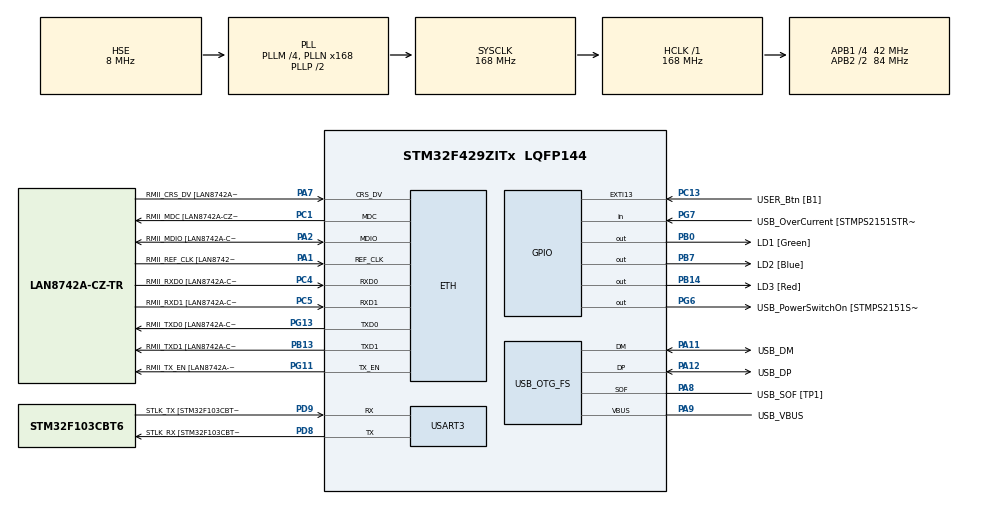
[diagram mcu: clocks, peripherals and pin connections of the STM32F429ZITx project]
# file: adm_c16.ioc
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ETH.MediaInterface=HAL_ETH_RMII_MODE
ETH.PHY_Name=LAN8742A_PHY_ADDRESS
ETH.PHY_Value=0
ETH.PhyAddress=0
Mcu.Family=STM32F4
Mcu.Name=STM32F429ZITx
Mcu.Package=LQFP144
NVIC.PriorityGroup=NVIC_PRIORITYGROUP_4
PA1.GPIO_Label=RMII_REF_CLK [LAN8742A-CZ-TR_REFCLK0]
PA1.Mode=RMII
PA1.Signal=ETH_REF_CLK
PA10.GPIO_Label=USB_ID
PA10.Signal=USB_OTG_FS_ID
PA11.GPIO_Label=USB_DM
PA11.Mode=Device_Only
PA11.Signal=USB_OTG_FS_DM
PA12.GPIO_Label=USB_DP
PA12.Mode=Device_Only
PA12.Signal=USB_OTG_FS_DP
PA13.GPIO_Label=TMS
PA13.Mode=Serial_Wire
PA13.Signal=SYS_JTMS-SWDIO
PA14.GPIO_Label=TCK
PA14.Mode=Serial_Wire
PA14.Signal=SYS_JTCK-SWCLK
PA2.GPIO_Label=RMII_MDIO [LAN8742A-CZ-TR_MDIO]
PA2.Mode=RMII
PA2.Signal=ETH_MDIO
PA7.GPIO_Label=RMII_CRS_DV [LAN8742A-CZ-TR_CRS_DV]
PA7.Mode=RMII
PA7.Signal=ETH_CRS_DV
PA8.GPIO_Label=USB_SOF [TP1]
PA8.Mode=Activate_SOF_FS
PA8.Signal=USB_OTG_FS_SOF
PA9.GPIO_Label=USB_VBUS
PA9.Mode=Activate_VBUS
PA9.Signal=USB_OTG_FS_VBUS
PB0.GPIO_Label=LD1 [Green]
PB0.Signal=GPIO_Output
PB13.GPIO_Label=RMII_TXD1 [LAN8742A-CZ-TR_TXD1]
PB13.Mode=RMII
PB13.Signal=ETH_TXD1
PB14.GPIO_Label=LD3 [Red]
PB14.Signal=GPIO_Output
PB7.GPIO_Label=LD2 [Blue]
PB7.Signal=GPIO_Output
PC1.GPIO_Label=RMII_MDC [LAN8742A-CZ-TR_MDC]
PC1.Mode=RMII
PC1.Signal=ETH_MDC
PC13.GPIO_Label=USER_Btn [B1]
PC13.Signal=GPXTI13
PC14/OSC32_IN.Mode=LSE-External-Oscillator
PC14/OSC32_IN.Signal=RCC_OSC32_IN
PC15/OSC32_OUT.Mode=LSE-External-Oscillator
PC15/OSC32_OUT.Signal=RCC_OSC32_OUT
PC4.GPIO_Label=RMII_RXD0 [LAN8742A-CZ-TR_RXD0]
PC4.Mode=RMII
PC4.Signal=ETH_RXD0
PC5.GPIO_Label=RMII_RXD1 [LAN8742A-CZ-TR_RXD1]
PC5.Mode=RMII
PC5.Signal=ETH_RXD1
PD8.GPIO_Label=STLK_RX [STM32F103CBT6_PA3]
PD8.Mode=Asynchronous
PD8.Signal=USART3_TX
PD9.GPIO_Label=STLK_TX [STM32F103CBT6_PA2]
PD9.Mode=Asynchronous
PD9.Signal=USART3_RX
PG11.GPIO_Label=RMII_TX_EN [LAN8742A-CZ-TR_TXEN]
PG11.Mode=RMII
PG11.Signal=ETH_TX_EN
PG13.GPIO_Label=RMII_TXD0 [LAN8742A-CZ-TR_TXD0]
PG13.Mode=RMII
PG13.Signal=ETH_TXD0
PG6.GPIO_Label=USB_PowerSwitchOn [STMPS2151STR_EN]
PG6.Signal=GPIO_Output
PG7.GPIO_Label=USB_OverCurrent [STMPS2151STR_FAULT]
PG7.Signal=GPIO_Input
PH0/OSC_IN.GPIO_Label=MCO [STM32F103CBT6_PA8]
PH0/OSC_IN.Mode=HSE-External-Clock-Source
PH0/OSC_IN.Signal=RCC_OSC_IN
PH1/OSC_OUT.Mode=HSE-External-Clock-Source
PH1/OSC_OUT.Signal=RCC_OSC_OUT
ProjectManager.HeapSize=0x200
ProjectManager.StackSize=0x400
ProjectManager.TargetToolchain=STM32CubeIDE
RCC.48MHZClocksFreq_Value=48000000
RCC.AHBFreq_Value=168000000
RCC.APB1CLKDivider=RCC_HCLK_DIV4
RCC.APB1Freq_Value=42000000
RCC.APB1TimFreq_Value=84000000
RCC.APB2CLKDivider=RCC_HCLK_DIV2
RCC.APB2Freq_Value=84000000
RCC.APB2TimCLKDivider=2
RCC.APB2TimFreq_Value=168000000
RCC.CortexFreq_Value=168000000
RCC.HCLKFreq_Value=168000000
RCC.HSE_VALUE=8000000
RCC.HSI_VALUE=16000000
RCC.PLLM=4
RCC.PLLMUL=RCC_PLL_MUL9
RCC.PLLN=168
RCC.PLLQ=7
RCC.PRESCALERUSB=RCC_USBCLKSOURCE_PLL_DIV1_5
RCC.SYSCLKFreq_VALUE=168000000
RCC.SYSCLKSource=RCC_SYSCLKSOURCE_PLLCLK
RCC.SYSCLKSourceVirtual=RCC_SYSCLKSOURCE_PLLCLK
RCC.USBFreq_Value=48000000
RCC.VCOOutputFreq_Value=336000000
USART3.VirtualMode=VM_ASYNC
USB_OTG_FS.VirtualMode=Device_Only
board=NUCLEO-F429ZI

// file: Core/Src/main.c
/* USER CODE BEGIN Header */
/**
  ******************************************************************************
  * @file           : main.c
  * @brief          : Main program body
  ******************************************************************************
  * @attention
  *
  * Copyright (c) 2022 STMicroelectronics.
  * All rights reserved.
  *
  * This software is licensed under terms that can be found in the LICENSE file
  * in the root directory of this software component.
  * If no LICENSE file comes with this software, it is provided AS-IS.
  *
  ******************************************************************************
  */
/* USER CODE END Header */
#include "main.h"
#include "string.h"

/* USER CODE BEGIN Includes */
#include "asm_func.h"
/* USER CODE END Includes */

ETH_TxPacketConfig TxConfig;
ETH_DMADescTypeDef  DMARxDscrTab[ETH_RX_DESC_CNT]; /* Ethernet Rx DMA Descriptors */
ETH_DMADescTypeDef  DMATxDscrTab[ETH_TX_DESC_CNT]; /* Ethernet Tx DMA Descriptors */

ETH_HandleTypeDef heth;

UART_HandleTypeDef huart3;

PCD_HandleTypeDef hpcd_USB_OTG_FS;

void SystemClock_Config(void);
static void MX_GPIO_Init(void);
static void MX_ETH_Init(void);
static void MX_USART3_UART_Init(void);
static void MX_USB_OTG_FS_PCD_Init(void);

/* USER CODE BEGIN 0 */
static void PrivilegiosSVC (void)
{
    // Obtiene valor del registro de 32 bits del procesador llamado "control".
    // El registro guarda los siguientes estados:
    // bit 2: Uso de FPU en el contexto actual. Usado=1, no usado=0.
    // bit 1: Mapeo del stack pointer(sp). MSP=0, PSP=1.
    // bit 0: Modo de ejecucion en Thread. Privilegiado=0, No privilegiado=1.
    //        Recordar que este valor solo se usa en modo Thread. Las
    //        interrupciones siempre se ejecutan en modo Handler con total
    //        privilegio.
    uint32_t x = __get_CONTROL ();

    // Actividad de debug: Ver registro "control" y valor de variable "x".
    //__BKPT (0);

    x |= 1;
    // bit 0 a modo No privilegiado.
    __set_CONTROL (x);

    // En este punto se estaria ejecutando en modo No privilegiado.
    // Lectura del registro "control" para confirmar.
    x = __get_CONTROL ();

    // Actividad de debug: Ver registro "control" y valor de variable "x".
    //__BKPT (0);

    x &= ~1u;
    // Se intenta volver a modo Privilegiado (bit 0, valor 0).
    __set_CONTROL (x);

    // Confirma que esta operacion es ignorada por estar ejecutandose en modo
    // Thread no privilegiado.
    x = __get_CONTROL ();

    // Actividad de debug: Ver registro "control" y valor de variable "x".
    //__BKPT (0);

    // En este punto, ejecutando en modo Thread no privilegiado, la unica forma
    // de volver a modo privilegiado o de realizar cualquier cambio que requiera
    // modo privilegiado, es pidiendo ese servicio a un hipotetico sistema
    // opertivo de tiempo real.
    // Para esto se invoca por software a la interrupcion SVC (Supervisor Call)
    // utilizando la instruccion "svc".
    // No hay intrinsics para realizar esta tarea. Para utilizar la instruccion
    // es necesario implementar una funcion en assembler. Ver el archivo
    // asm_func.S.
    asm_svc ();

    // El sistema operativo (el handler de SVC) deberia haber devuelto el modo
    // de ejecucion de Thread a privilegiado (bit 0 en valor 0).
    x = __get_CONTROL ();

    // Fin del ejemplo de SVC
}

void zeros(uint32_t *vector, uint32_t longitud) {
    for (uint32_t i = 0; i < longitud; i++) {
        vector[i] = 0;
    }
}
//optimizado, dsp aplicar en todos.....:
void zeros_optimizada(uint32_t *vector, uint32_t longitud) {
    for (; longitud >0; longitud--) {
        vector[longitud-1] = 0;
    }
}
void productoEscalar32(uint32_t *vectorIn, uint32_t *vectorOut, uint32_t longitud, uint32_t escalar) {
    for (uint32_t i = 0; i < longitud; i++) { //en clase no utilizaron la variable auxiliar i,
        vectorOut[i] = vectorIn[i] * escalar;
    }
}
void productoEscalar16(uint16_t *vectorIn, uint16_t *vectorOut, uint32_t longitud, uint16_t escalar) {
    for (uint32_t i = 0; i < longitud; i++) {
        vectorOut[i] = vectorIn[i] * escalar;
    }
}
void productoEscalar12(uint16_t *vectorIn, uint16_t *vectorOut, uint32_t longitud, uint16_t escalar) {
    for (uint32_t i = 0; i < longitud; i++) {
        uint32_t resultado = (uint32_t)vectorIn[i] * (uint32_t)escalar;
        if (resultado > 0xFFF) {
            vectorOut[i] = 0xFFF; // Saturación a 12 bits
        } else {
            vectorOut[i] = (uint16_t)resultado;
        }
    }
}
void filtroVentana10(uint16_t *vectorIn, uint16_t *vectorOut, uint32_t longitud) {
    int32_t p;
    const uint8_t SampleOffset = 5;
    const uint8_t WindowSize = (SampleOffset * 2) + 1;

    for (int32_t i = longitud - 1; i >= 0; i--) {
        p = i;
        vectorOut[p] = 0;

        for (int32_t j = p + SampleOffset; j >= p - SampleOffset; j--) {
            if (j < longitud && j >= 0) {
                vectorOut[p] += vectorIn[j];
            }
        }
        vectorOut[p] /= WindowSize;
    }
}
void pack32to16(int32_t *vectorIn, int16_t *vectorOut, uint32_t longitud) {
    for (uint32_t i = 0; i < longitud; i++) {
        vectorOut[i] = (int16_t)(vectorIn[i] >> 16);
    }
}
int32_t max(int32_t *vectorIn, uint32_t longitud) {
    int32_t maxValor = vectorIn[0];
    uint32_t maxPosicion = 0;

    for (uint32_t i = 1; i < longitud; i++) {
        if (vectorIn[i] > maxValor) {
            maxValor = vectorIn[i];
            maxPosicion = i;
        }
    }

    return maxPosicion;
}
void downsampleM(int32_t *vectorIn, int32_t *vectorOut, uint32_t longitud, uint32_t N) {
    uint32_t i;
    uint32_t j = 0;

    for (i = 0; i < longitud; i += N) {
        vectorOut[j] = vectorIn[i];
        j++;
    }
}
void invertir(uint16_t *vector, uint32_t longitud) {
    uint32_t i;
    uint16_t temp;

    for (i = 0; i < longitud / 2; i++) {
        temp = vector[i];
        vector[i] = vector[longitud - i - 1];
        vector[longitud - i - 1] = temp;
    }
}
void introducirEco(int16_t *vector, int16_t *vectorOut) {
    uint32_t retrasoMuestras = 882; // 20ms de retraso = 882 muetras
    uint32_t longitud = 4096;
    int16_t mitadAmplitud = 0;

    //SIN ECO
    for (uint32_t i = 0; i < retrasoMuestras; i++) {
        vectorOut[i] = vector[i];
    }

    //ECO
    for (uint32_t i = retrasoMuestras; i < longitud; i++) {
        mitadAmplitud = vector[i - retrasoMuestras] / 2; //retraso
        vectorOut[i] += vector[i] + mitadAmplitud;
    }

}

// https://www.keil.com/pack/doc/CMSIS/Core/html/group__intrinsic__SIMD__gr.html

void introducirEco_Intrinsic(int16_t *vector, int16_t *vectorOut) {
    uint32_t retrasoMuestras = 882; // 20ms de retraso = 882 muetras
    uint32_t longitud = 4096;
    int16_t mitadAmplitud = 0;

    //SIN ECO
    for (uint32_t i = 0; i < retrasoMuestras; i++) {
        vectorOut[i] = vector[i];
    }

    //ECO
    for (uint32_t i = retrasoMuestras; i < longitud; i++) {
        mitadAmplitud = vector[i - retrasoMuestras] / 2; //retraso
        vectorOut[i] = __QADD16(vectorOut[i], __QADD16(vector[i], mitadAmplitud));
    }

}
void corr(int16_t *vectorX, int16_t *vectorY, int16_t *vectorCorr, uint32_t longitud) {
    uint32_t i, j;

    for (i = 0; i < longitud; i++) {
        vectorCorr[i] = 0;
        for (j = 0; j < longitud; j++) {
            if (i + j < longitud) {
                vectorCorr[i] += vectorX[i + j] * vectorY[j];
            }
        }
    }
}
void corr_Intrinsic(int16_t *vectorX, int16_t *vectorY, int16_t *vectorCorr, uint32_t longitud) {
    uint32_t i, j;

    for (i = 0; i < longitud; i++) {
        vectorCorr[i] = 0;
        for (j = 0; j < longitud; j++) {
            if (i + j < longitud) {
            	//__SMUADX <---- dsp probar con esa
                vectorCorr[i] += __SMUAD(vectorX[i + j] , vectorY[j]);
            }
        }
    }
}
/* USER CODE END 0 */

int main(void)
{

  /* MCU Configuration--------------------------------------------------------*/

  /* Reset of all peripherals, Initializes the Flash interface and the Systick. */
  HAL_Init();

  /* Configure the system clock */
  SystemClock_Config();

  /* Initialize all configured peripherals */
  MX_GPIO_Init();
  MX_ETH_Init();
  MX_USART3_UART_Init();
  MX_USB_OTG_FS_PCD_Init();
  /* USER CODE BEGIN 2 */
  PrivilegiosSVC ();
  DWT->CTRL |= 1 << DWT_CTRL_CYCCNTENA_Pos; //activar el contador

  uint32_t ciclosASM,ciclosC,ciclosC2;

  //const uint32_t Resultado = asm_sum (5, 3);

  /*
   * 	EJERCICIO 1 PRUEBA DE FUNCIONES EN C y ASM
   *
   * */
  uint32_t resultado[10] = {10,20,10,40,50,60,20,10,20,40};
  DWT->CYCCNT = 0;  asm_zeros(resultado, 10);  ciclosASM = DWT->CYCCNT;
  DWT->CYCCNT = 0;  zeros(resultado, 10);  ciclosC = DWT->CYCCNT;
  DWT->CYCCNT = 0;  zeros_optimizada(resultado, 10);  ciclosC2 = DWT->CYCCNT;
  /*
   * 	EJERCICIO 2 PRUEBA DE FUNCIONES EN C y ASM
   *
   * */
  uint32_t vectorIN_ej2[10] = {10,20,10,40,50,60,70,80,90,100};
  uint32_t vectorOUT_ej2[10] = {0};
  uint32_t longitud_ej2 = 10, escalar_ej2 = 2;
  DWT->CYCCNT = 0;  asm_productoEscalar32(vectorIN_ej2,vectorOUT_ej2,longitud_ej2,escalar_ej2);  ciclosASM = DWT->CYCCNT;
  DWT->CYCCNT = 0;  productoEscalar32(vectorIN_ej2,vectorOUT_ej2,longitud_ej2,escalar_ej2);  ciclosC = DWT->CYCCNT;
  /*
   * 	EJERCICIO 3 PRUEBA DE FUNCIONES EN C y ASM
   *
   * */
  uint16_t vectorIN_ej3[5] = {10,20,10,40,50};
  uint16_t vectorOUT_ej3[5] = {0};
  uint32_t longitud_ej3 = 5;
  uint16_t escalar_ej3 = 2;
  DWT->CYCCNT = 0;  asm_productoEscalar16(vectorIN_ej3,vectorOUT_ej3,longitud_ej3,escalar_ej3);  ciclosASM = DWT->CYCCNT;
  DWT->CYCCNT = 0;  productoEscalar16(vectorIN_ej3,vectorOUT_ej3,longitud_ej3,escalar_ej3);  ciclosC = DWT->CYCCNT;
  /*
   * 	EJERCICIO 4 PRUEBA DE FUNCIONES EN C y ASM
   *
   * */
  uint16_t vectorIN_ej4[5] = {10000,10000,10000,10000,10000};
  uint16_t vectorOUT_ej4[5] = {0};
  uint32_t longitud_ej4 = 5;
  uint16_t escalar_ej4 = 6;
  DWT->CYCCNT = 0;  asm_productoEscalar12(vectorIN_ej4,vectorOUT_ej4,longitud_ej4,escalar_ej4);  ciclosASM = DWT->CYCCNT;
  DWT->CYCCNT = 0;  productoEscalar12(vectorIN_ej4,vectorOUT_ej4,longitud_ej4,escalar_ej4);  ciclosC = DWT->CYCCNT;
  /*
   * 	EJERCICIO 5 PRUEBA DE FUNCIONES EN C y ASM
   *
   * */
  uint16_t vectorIN_ej5[10] = {1,2,3,4,5,6,7,8,9};
  uint16_t vectorOUT_ej5[10] = {0};
  uint32_t longitud_ej5 = 10;
  DWT->CYCCNT = 0;  asm_filtroVentana10(vectorIN_ej5,vectorOUT_ej5,longitud_ej5);  ciclosASM = DWT->CYCCNT;
  DWT->CYCCNT = 0;  filtroVentana10(vectorIN_ej5,vectorOUT_ej5,longitud_ej5);  ciclosC = DWT->CYCCNT;
  /*
   * 	EJERCICIO 6 PRUEBA DE FUNCIONES EN C y ASM
   *
   * */
  uint32_t vectorIN_ej6[5] = {0xFFFF,0xFEFF,0xEAFF,0xE9FF,0x01FF};
  uint32_t vectorOUT_ej6[5] = {0};
  uint32_t longitud_ej6 = 5;
  DWT->CYCCNT = 0;  asm_pack32to16(vectorIN_ej6,vectorOUT_ej6,longitud_ej6);  ciclosASM = DWT->CYCCNT;
  DWT->CYCCNT = 0;  pack32to16(vectorIN_ej6,vectorOUT_ej6,longitud_ej6);  ciclosC = DWT->CYCCNT;
  /*
   * 	EJERCICIO 7 PRUEBA DE FUNCIONES EN C y ASM
   *
   * */
  uint32_t vectorIN_ej7[10] = {1,2,3,5,4,8,2,3,5,0};
  uint32_t longitud_ej7 = 10;
  DWT->CYCCNT = 0;  uint32_t pos = asm_max32(vectorIN_ej7,longitud_ej7);  ciclosASM = DWT->CYCCNT;
  DWT->CYCCNT = 0;  uint32_t pos2 = max(vectorIN_ej7,longitud_ej7);  ciclosC = DWT->CYCCNT;
  /*
   * 	EJERCICIO 8 PRUEBA DE FUNCIONES EN C y ASM
   *
   * */
  uint32_t vectorIN_ej8[10] = {1,2,3,4,5,6,7,8,9,10};
  uint32_t vectorOUT_ej8[10] = {0};
  uint32_t longitud_ej8 = 10;
  uint32_t N = 2;
  DWT->CYCCNT = 0;  asm_downsampleM(vectorIN_ej8,vectorOUT_ej8,longitud_ej8,N);  ciclosASM = DWT->CYCCNT;
  DWT->CYCCNT = 0;  downsampleM(vectorIN_ej8,vectorOUT_ej8,longitud_ej8,N);  ciclosC = DWT->CYCCNT;
  /*
   * 	EJERCICIO 9 PRUEBA DE FUNCIONES EN C y ASM
   *
   * */
  uint16_t vectorIN_ej9[10] = {1,2,3,4,5,6,7,8,9,10};
  uint32_t longitud_ej9 = 10;
  DWT->CYCCNT = 0;  asm_invertir(vectorIN_ej9,longitud_ej9);  ciclosASM = DWT->CYCCNT;
  DWT->CYCCNT = 0;  invertir(vectorIN_ej9,longitud_ej9);  ciclosC = DWT->CYCCNT;
  int16_t muestras[4096];
  int16_t muestras_eco[4096];

 //prueba de eco, no hago una funcion asm con SIMD porque no encuentro donde aplicarlo eficientemente
  muestras[0] = 10;  muestras[1] = 15;  muestras[2] = 20;  muestras[3] = 25;
  muestras[882] = 10;  muestras[883] = 20;  muestras[884] = 30;  muestras[885] = 40;
  muestras_eco[882] = 0;  muestras_eco[883] = 0;  muestras_eco[884] = 0;  muestras_eco[885] = 0;
  DWT->CYCCNT = 0;  asm_eco(muestras, muestras_eco);  ciclosASM = DWT->CYCCNT;

  muestras[0] = 10;  muestras[1] = 15;  muestras[2] = 20;  muestras[3] = 25;
  muestras[882] = 10;  muestras[883] = 20;  muestras[884] = 30;  muestras[885] = 40;
  muestras_eco[882] = 0;  muestras_eco[883] = 0;  muestras_eco[884] = 0;  muestras_eco[885] = 0;
  DWT->CYCCNT = 0;  introducirEco(muestras, muestras_eco);  ciclosC = DWT->CYCCNT;

  muestras[0] = 10;  muestras[1] = 15;  muestras[2] = 20;  muestras[3] = 25;
  muestras[882] = 10;  muestras[883] = 20;  muestras[884] = 30;  muestras[885] = 40;
  muestras_eco[882] = 0;  muestras_eco[883] = 0;  muestras_eco[884] = 0;  muestras_eco[885] = 0;
  DWT->CYCCNT = 0;  introducirEco_Intrinsic(muestras, muestras_eco);  ciclosC = DWT->CYCCNT;
  /*
   * 	EJERCICIO 10 PRUEBA DE FUNCIONES EN C y ASM
   *
   * */
  uint32_t longitude = 15;
  int16_t vX[] = {0, 1, 2, 3, 4, 5, 6, 7, 8, 9, -1, -2, -3, -4, -5};
  int16_t vY[] = {0, 1, 2, 3, 4, 5, 6, 7, 8, 9, -1, -2, -3, -4, -5};
  int16_t vOut[longitude];
  DWT->CYCCNT = 0;    corr(vX, vY, vOut, longitude);    ciclosC = DWT->CYCCNT;
  DWT->CYCCNT = 0;	corr_Intrinsic(vX, vY, vOut, longitude);    ciclosC = DWT->CYCCNT;
  DWT->CYCCNT = 0;    asm_calcularCorrelacion(vX, vY, vOut, longitude);    ciclosASM = DWT->CYCCNT;

  /* USER CODE END 2 */

  /* Infinite loop */
  while (1)
  {

  }
}

void SystemClock_Config(void)
{
  RCC_OscInitTypeDef RCC_OscInitStruct = {0};
  RCC_ClkInitTypeDef RCC_ClkInitStruct = {0};

  /** Configure the main internal regulator output voltage
  */
  __HAL_RCC_PWR_CLK_ENABLE();
  __HAL_PWR_VOLTAGESCALING_CONFIG(PWR_REGULATOR_VOLTAGE_SCALE1);

  /** Initializes the RCC Oscillators according to the specified parameters
  * in the RCC_OscInitTypeDef structure.
  */
  RCC_OscInitStruct.OscillatorType = RCC_OSCILLATORTYPE_HSE;
  RCC_OscInitStruct.HSEState = RCC_HSE_BYPASS;
  RCC_OscInitStruct.PLL.PLLState = RCC_PLL_ON;
  RCC_OscInitStruct.PLL.PLLSource = RCC_PLLSOURCE_HSE;
  RCC_OscInitStruct.PLL.PLLM = 4;
  RCC_OscInitStruct.PLL.PLLN = 168;
  RCC_OscInitStruct.PLL.PLLP = RCC_PLLP_DIV2;
  RCC_OscInitStruct.PLL.PLLQ = 7;
  if (HAL_RCC_OscConfig(&RCC_OscInitStruct) != HAL_OK)
  {
    Error_Handler();
  }

  /** Initializes the CPU, AHB and APB buses clocks
  */
  RCC_ClkInitStruct.ClockType = RCC_CLOCKTYPE_HCLK|RCC_CLOCKTYPE_SYSCLK
                              |RCC_CLOCKTYPE_PCLK1|RCC_CLOCKTYPE_PCLK2;
  RCC_ClkInitStruct.SYSCLKSource = RCC_SYSCLKSOURCE_PLLCLK;
  RCC_ClkInitStruct.AHBCLKDivider = RCC_SYSCLK_DIV1;
  RCC_ClkInitStruct.APB1CLKDivider = RCC_HCLK_DIV4;
  RCC_ClkInitStruct.APB2CLKDivider = RCC_HCLK_DIV2;

  if (HAL_RCC_ClockConfig(&RCC_ClkInitStruct, FLASH_LATENCY_5) != HAL_OK)
  {
    Error_Handler();
  }
}

static void MX_ETH_Init(void)
{

   static uint8_t MACAddr[6];

  heth.Instance = ETH;
  MACAddr[0] = 0x00;
  MACAddr[1] = 0x80;
  MACAddr[2] = 0xE1;
  MACAddr[3] = 0x00;
  MACAddr[4] = 0x00;
  MACAddr[5] = 0x00;
  heth.Init.MACAddr = &MACAddr[0];
  heth.Init.MediaInterface = HAL_ETH_RMII_MODE;
  heth.Init.TxDesc = DMATxDscrTab;
  heth.Init.RxDesc = DMARxDscrTab;
  heth.Init.RxBuffLen = 1524;

  if (HAL_ETH_Init(&heth) != HAL_OK)
  {
    Error_Handler();
  }

  memset(&TxConfig, 0 , sizeof(ETH_TxPacketConfig));
  TxConfig.Attributes = ETH_TX_PACKETS_FEATURES_CSUM | ETH_TX_PACKETS_FEATURES_CRCPAD;
  TxConfig.ChecksumCtrl = ETH_CHECKSUM_IPHDR_PAYLOAD_INSERT_PHDR_CALC;
  TxConfig.CRCPadCtrl = ETH_CRC_PAD_INSERT;

}

static void MX_USART3_UART_Init(void)
{

  huart3.Instance = USART3;
  huart3.Init.BaudRate = 115200;
  huart3.Init.WordLength = UART_WORDLENGTH_8B;
  huart3.Init.StopBits = UART_STOPBITS_1;
  huart3.Init.Parity = UART_PARITY_NONE;
  huart3.Init.Mode = UART_MODE_TX_RX;
  huart3.Init.HwFlowCtl = UART_HWCONTROL_NONE;
  huart3.Init.OverSampling = UART_OVERSAMPLING_16;
  if (HAL_UART_Init(&huart3) != HAL_OK)
  {
    Error_Handler();
  }

}

static void MX_USB_OTG_FS_PCD_Init(void)
{

  hpcd_USB_OTG_FS.Instance = USB_OTG_FS;
  hpcd_USB_OTG_FS.Init.dev_endpoints = 4;
  hpcd_USB_OTG_FS.Init.speed = PCD_SPEED_FULL;
  hpcd_USB_OTG_FS.Init.dma_enable = DISABLE;
  hpcd_USB_OTG_FS.Init.phy_itface = PCD_PHY_EMBEDDED;
  hpcd_USB_OTG_FS.Init.Sof_enable = ENABLE;
  hpcd_USB_OTG_FS.Init.low_power_enable = DISABLE;
  hpcd_USB_OTG_FS.Init.lpm_enable = DISABLE;
  hpcd_USB_OTG_FS.Init.vbus_sensing_enable = ENABLE;
  hpcd_USB_OTG_FS.Init.use_dedicated_ep1 = DISABLE;
  if (HAL_PCD_Init(&hpcd_USB_OTG_FS) != HAL_OK)
  {
    Error_Handler();
  }

}

static void MX_GPIO_Init(void)
{
  GPIO_InitTypeDef GPIO_InitStruct = {0};

  /* GPIO Ports Clock Enable */
  __HAL_RCC_GPIOC_CLK_ENABLE();
  __HAL_RCC_GPIOH_CLK_ENABLE();
  __HAL_RCC_GPIOA_CLK_ENABLE();
  __HAL_RCC_GPIOB_CLK_ENABLE();
  __HAL_RCC_GPIOD_CLK_ENABLE();
  __HAL_RCC_GPIOG_CLK_ENABLE();

  /*Configure GPIO pin Output Level */
  HAL_GPIO_WritePin(GPIOB, LD1_Pin|LD3_Pin|LD2_Pin, GPIO_PIN_RESET);

  /*Configure GPIO pin Output Level */
  HAL_GPIO_WritePin(USB_PowerSwitchOn_GPIO_Port, USB_PowerSwitchOn_Pin, GPIO_PIN_RESET);

  /*Configure GPIO pin : USER_Btn_Pin */
  GPIO_InitStruct.Pin = USER_Btn_Pin;
  GPIO_InitStruct.Mode = GPIO_MODE_IT_RISING;
  GPIO_InitStruct.Pull = GPIO_NOPULL;
  HAL_GPIO_Init(USER_Btn_GPIO_Port, &GPIO_InitStruct);

  /*Configure GPIO pins : LD1_Pin LD3_Pin LD2_Pin */
  GPIO_InitStruct.Pin = LD1_Pin|LD3_Pin|LD2_Pin;
  GPIO_InitStruct.Mode = GPIO_MODE_OUTPUT_PP;
  GPIO_InitStruct.Pull = GPIO_NOPULL;
  GPIO_InitStruct.Speed = GPIO_SPEED_FREQ_LOW;
  HAL_GPIO_Init(GPIOB, &GPIO_InitStruct);

  /*Configure GPIO pin : USB_PowerSwitchOn_Pin */
  GPIO_InitStruct.Pin = USB_PowerSwitchOn_Pin;
  GPIO_InitStruct.Mode = GPIO_MODE_OUTPUT_PP;
  GPIO_InitStruct.Pull = GPIO_NOPULL;
  GPIO_InitStruct.Speed = GPIO_SPEED_FREQ_LOW;
  HAL_GPIO_Init(USB_PowerSwitchOn_GPIO_Port, &GPIO_InitStruct);

  /*Configure GPIO pin : USB_OverCurrent_Pin */
  GPIO_InitStruct.Pin = USB_OverCurrent_Pin;
  GPIO_InitStruct.Mode = GPIO_MODE_INPUT;
  GPIO_InitStruct.Pull = GPIO_NOPULL;
  HAL_GPIO_Init(USB_OverCurrent_GPIO_Port, &GPIO_InitStruct);

}

void Error_Handler(void)
{
  __disable_irq();
  while (1)
  {
  }
}
